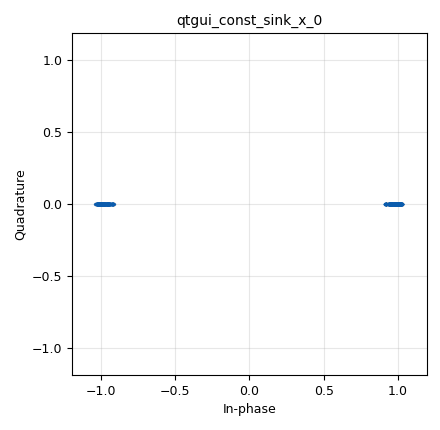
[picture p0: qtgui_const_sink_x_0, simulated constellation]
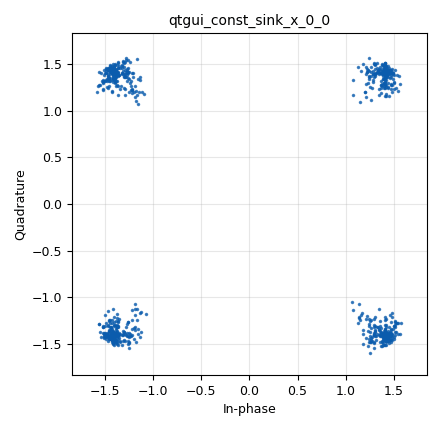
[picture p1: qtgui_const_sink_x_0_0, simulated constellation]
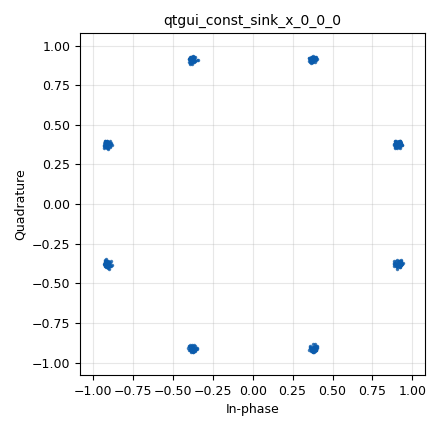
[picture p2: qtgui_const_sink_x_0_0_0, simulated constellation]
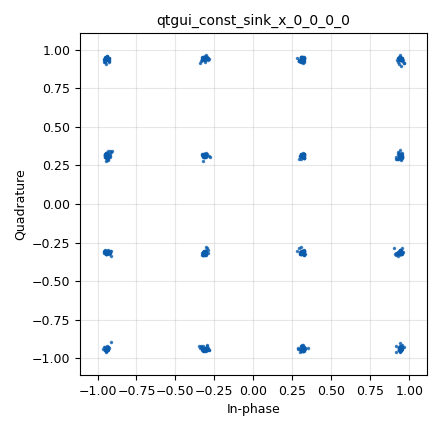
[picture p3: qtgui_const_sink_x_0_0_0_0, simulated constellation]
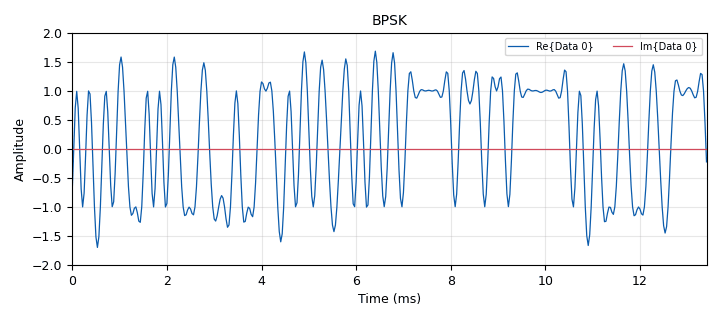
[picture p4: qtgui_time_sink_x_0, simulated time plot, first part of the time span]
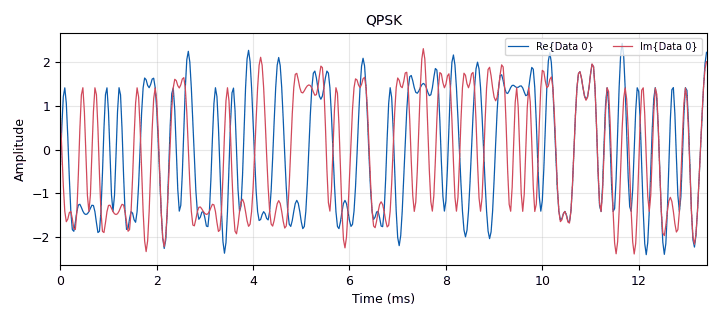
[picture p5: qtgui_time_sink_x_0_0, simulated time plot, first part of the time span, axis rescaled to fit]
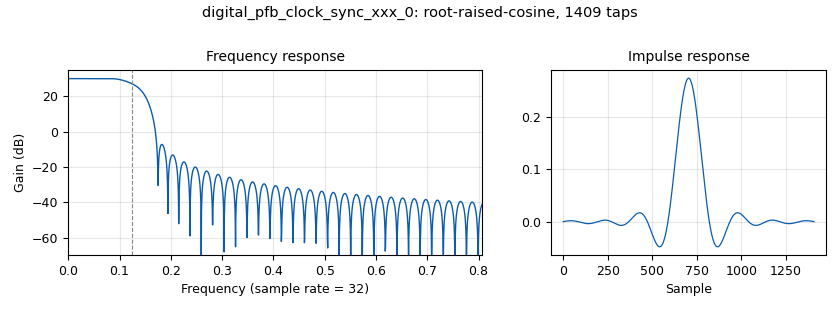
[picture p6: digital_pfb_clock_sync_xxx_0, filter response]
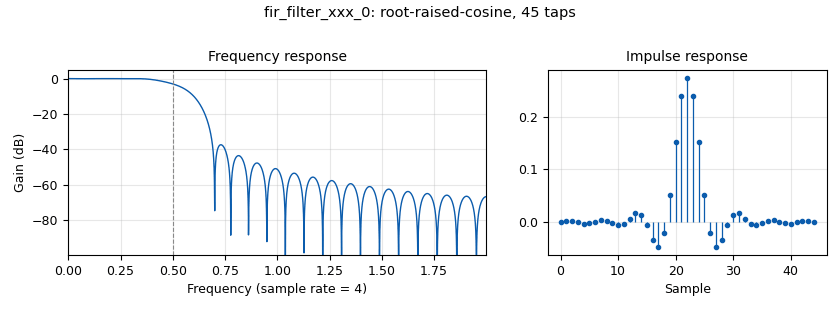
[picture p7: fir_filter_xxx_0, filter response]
options:
  parameters:
    category: Custom
    generate_options: qt_gui
    id: PSK
    output_language: python
    title: PSK
  states: {}

blocks:
- name: bpsk
  id: variable_constellation
  parameters:
    precision: '8'
    type: bpsk
  states: {}
- name: excess_bw
  id: variable
  parameters:
    value: '0.35'
  states: {}
- name: nfilts
  id: variable
  parameters:
    value: '32'
  states: {}
- name: psk8
  id: variable_constellation
  parameters:
    comment: |-
      55, 00, 01, 00, 55, 00, 11, 00, 55, 00, 51, 00-> 2520000100052400 （最终的八进制）

      55, 00, 01（十六进制）
      0101 0101 0000 0000 0000 0001  (二进制）
      010 101 010 000 000 000 000 001 （八进制）
    precision: '8'
    type: 8psk
  states: {}
- name: psk8_points
  id: variable
  parameters:
    value: psk8.points()
  states: {}
- name: psk8_points_25
  id: variable
  parameters:
    value: '[psk8_points[2],psk8_points[5]]'
  states: {}
- name: qam16
  id: variable_constellation
  parameters:
    precision: '8'
    type: 16qam
  states: {}
- name: qam16_points
  id: variable
  parameters:
    value: qam16.points()
  states: {}
- name: qam16_points_501
  id: variable
  parameters:
    value: '[qam16_points[5],qam16_points[0],qam16_points[1]]'
  states: {}
- name: qpsk
  id: variable_constellation
  parameters:
    precision: '8'
    type: qpsk
  states: {}
- name: rrc_taps
  id: variable
  parameters:
    value: firdes.root_raised_cosine(1, sps, 1, excess_bw, 45)
  states: {}
- name: rrc_taps_sync
  id: variable
  parameters:
    value: firdes.root_raised_cosine(nfilts, nfilts, 1.0/float(sps), excess_bw, 11*sps*nfilts)
  states: {}
- name: samp_rate
  id: variable
  parameters:
    value: '32000'
  states: {}
- name: sps
  id: variable
  parameters:
    value: '4'
  states: {}
- name: analog_random_source_x_0
  id: analog_random_source_x
  parameters:
    max: '256'
    min: '0'
    num_samps: '1024'
    repeat: 'True'
    type: byte
  states: {}
- name: blocks_throttle_0
  id: blocks_throttle
  parameters:
    samples_per_second: samp_rate
    type: complex
  states: {}
- name: blocks_throttle_0_0
  id: blocks_throttle
  parameters:
    samples_per_second: samp_rate
    type: complex
  states: {}
- name: blocks_throttle_0_0_0
  id: blocks_throttle
  parameters:
    samples_per_second: samp_rate
    type: complex
  states: {}
- name: blocks_throttle_0_0_0_0
  id: blocks_throttle
  parameters:
    samples_per_second: samp_rate
    type: complex
  states: {}
- name: blocks_vector_source_x_0
  id: blocks_vector_source_x
  parameters:
    comment: |-
      55, 00, 01, 00, 55, 00, 11, 00, 55, 00, 51, 00
      BPSK：寻找1个尖、2个尖、3个尖
    repeat: 'True'
    type: byte
    vector: (0x55,0,0x01,0,0x55,0,0x11,0,0x55,0,0x51,0)
  states: {state: disabled}
- name: digital_constellation_modulator_0
  id: digital_constellation_modulator
  parameters:
    constellation: bpsk
    differential: 'False'
    excess_bw: excess_bw
    samples_per_symbol: sps
  states: {}
- name: digital_constellation_modulator_0_0
  id: digital_constellation_modulator
  parameters:
    constellation: qpsk
    differential: 'False'
    excess_bw: excess_bw
    samples_per_symbol: sps
  states: {}
- name: digital_constellation_modulator_0_0_0
  id: digital_constellation_modulator
  parameters:
    constellation: psk8
    differential: 'False'
    excess_bw: excess_bw
    samples_per_symbol: sps
  states: {}
- name: digital_constellation_modulator_0_0_0_0
  id: digital_constellation_modulator
  parameters:
    constellation: qam16
    differential: 'False'
    excess_bw: excess_bw
    samples_per_symbol: sps
  states: {}
- name: digital_pfb_clock_sync_xxx_0
  id: digital_pfb_clock_sync_xxx
  parameters:
    filter_size: nfilts
    init_phase: nfilts/2
    loop_bw: 6.28/100.0
    max_dev: '1.5'
    osps: '1'
    sps: sps
    taps: rrc_taps_sync
    type: ccf
  states: {}
- name: digital_pfb_clock_sync_xxx_0_0
  id: digital_pfb_clock_sync_xxx
  parameters:
    filter_size: nfilts
    init_phase: nfilts/2
    loop_bw: 6.28/100.0
    max_dev: '1.5'
    osps: '1'
    sps: sps
    taps: rrc_taps_sync
    type: ccf
  states: {}
- name: digital_pfb_clock_sync_xxx_0_1
  id: digital_pfb_clock_sync_xxx
  parameters:
    filter_size: nfilts
    init_phase: nfilts/2
    loop_bw: 6.28/100.0
    max_dev: '1.5'
    osps: '1'
    sps: sps
    taps: rrc_taps_sync
    type: ccf
  states: {}
- name: digital_pfb_clock_sync_xxx_0_1_0
  id: digital_pfb_clock_sync_xxx
  parameters:
    filter_size: nfilts
    init_phase: nfilts/2
    loop_bw: 6.28/100.0
    max_dev: '1.5'
    osps: '1'
    sps: sps
    taps: rrc_taps_sync
    type: ccf
  states: {}
- name: fir_filter_xxx_0
  id: fir_filter_xxx
  parameters:
    decim: '1'
    taps: rrc_taps
    type: ccc
  states: {}
- name: fir_filter_xxx_0_0
  id: fir_filter_xxx
  parameters:
    decim: '1'
    taps: rrc_taps
    type: ccc
  states: {}
- name: fir_filter_xxx_0_0_0
  id: fir_filter_xxx
  parameters:
    decim: '1'
    taps: rrc_taps
    type: ccc
  states: {}
- name: fir_filter_xxx_0_0_0_0
  id: fir_filter_xxx
  parameters:
    decim: '1'
    taps: rrc_taps
    type: ccc
  states: {}
- name: note_0
  id: note
  parameters:
    comment: |-
      samp_rate = 32k
      sps = 4
      symbol_rate = 32k/4 = 8k -> one symbol 0.125ms

      - when BPSK, 1 bit one symbol, 1byte -> 1ms
      - when QPSK, 2 bits one symbol, 2bytes -> 1ms
      - when 16QAM, 4 bits one symbol, 4bytes -> 1ms
      - when 8PSK, 3 bits one symbol, 3bytes -> 1ms

      因此故意设计 4*3 bytes，这样既能整除 3，也能整出 4，看起来比较清晰
  states: {}
- name: qtgui_const_sink_x_0
  id: qtgui_const_sink_x
  parameters:
    autoscale: 'True'
    gui_hint: 0,2,1,1
    size: '1024'
    type: complex
  states: {}
- name: qtgui_const_sink_x_0_0
  id: qtgui_const_sink_x
  parameters:
    autoscale: 'True'
    gui_hint: 1,2,1,1
    size: '1024'
    type: complex
  states: {}
- name: qtgui_const_sink_x_0_0_0
  id: qtgui_const_sink_x
  parameters:
    autoscale: 'True'
    gui_hint: 2,2,1,1
    size: '1024'
    type: complex
  states: {}
- name: qtgui_const_sink_x_0_0_0_0
  id: qtgui_const_sink_x
  parameters:
    autoscale: 'True'
    gui_hint: 3,2,1,1
    size: '1024'
    type: complex
  states: {}
- name: qtgui_time_sink_x_0
  id: qtgui_time_sink_x
  parameters:
    alpha1: '0.5'
    alpha2: '0.5'
    grid: 'True'
    gui_hint: 0,0,1,2
    label1: ''
    label2: ''
    name: '"BPSK"'
    size: '1024'
    srate: samp_rate
    tr_mode: qtgui.TRIG_MODE_NORM
    type: complex
    ymax: '2'
    ymin: '-2'
  states: {}
- name: qtgui_time_sink_x_0_0
  id: qtgui_time_sink_x
  parameters:
    alpha1: '0.5'
    alpha2: '0.5'
    grid: 'True'
    gui_hint: 1,0,1,2
    label1: ''
    label2: ''
    name: '"QPSK"'
    size: '1024'
    srate: samp_rate
    tr_mode: qtgui.TRIG_MODE_NORM
    type: complex
    ymax: '2'
    ymin: '-2'
  states: {}
- name: qtgui_time_sink_x_0_0_0
  id: qtgui_time_sink_x
  parameters:
    alpha1: '0.5'
    alpha2: '0.5'
    grid: 'True'
    gui_hint: 2,0,1,2
    label1: ''
    label2: ''
    name: '"8PSK"'
    size: '1024'
    srate: samp_rate
    tr_mode: qtgui.TRIG_MODE_NORM
    type: complex
    ymax: '2'
    ymin: '-2'
  states: {}
- name: qtgui_time_sink_x_0_0_0_0
  id: qtgui_time_sink_x
  parameters:
    alpha1: '0.5'
    alpha2: '0.5'
    grid: 'True'
    gui_hint: 3,0,1,2
    label1: ''
    label2: ''
    name: '"QAM16"'
    size: '1024'
    srate: samp_rate
    tr_mode: qtgui.TRIG_MODE_NORM
    type: complex
    ymax: '2'
    ymin: '-2'
  states: {}

connections:
- [analog_random_source_x_0, '0', digital_constellation_modulator_0, '0']
- [analog_random_source_x_0, '0', digital_constellation_modulator_0_0, '0']
- [analog_random_source_x_0, '0', digital_constellation_modulator_0_0_0, '0']
- [analog_random_source_x_0, '0', digital_constellation_modulator_0_0_0_0, '0']
- [blocks_throttle_0, '0', digital_pfb_clock_sync_xxx_0_0, '0']
- [blocks_throttle_0, '0', fir_filter_xxx_0, '0']
- [blocks_throttle_0_0, '0', digital_pfb_clock_sync_xxx_0, '0']
- [blocks_throttle_0_0, '0', fir_filter_xxx_0_0, '0']
- [blocks_throttle_0_0_0, '0', digital_pfb_clock_sync_xxx_0_1, '0']
- [blocks_throttle_0_0_0, '0', fir_filter_xxx_0_0_0, '0']
- [blocks_throttle_0_0_0_0, '0', digital_pfb_clock_sync_xxx_0_1_0, '0']
- [blocks_throttle_0_0_0_0, '0', fir_filter_xxx_0_0_0_0, '0']
- [blocks_vector_source_x_0, '0', digital_constellation_modulator_0, '0']
- [blocks_vector_source_x_0, '0', digital_constellation_modulator_0_0, '0']
- [blocks_vector_source_x_0, '0', digital_constellation_modulator_0_0_0, '0']
- [blocks_vector_source_x_0, '0', digital_constellation_modulator_0_0_0_0, '0']
- [digital_constellation_modulator_0, '0', blocks_throttle_0, '0']
- [digital_constellation_modulator_0_0, '0', blocks_throttle_0_0, '0']
- [digital_constellation_modulator_0_0_0, '0', blocks_throttle_0_0_0, '0']
- [digital_constellation_modulator_0_0_0_0, '0', blocks_throttle_0_0_0_0, '0']
- [digital_pfb_clock_sync_xxx_0, '0', qtgui_const_sink_x_0_0, '0']
- [digital_pfb_clock_sync_xxx_0_0, '0', qtgui_const_sink_x_0, '0']
- [digital_pfb_clock_sync_xxx_0_1, '0', qtgui_const_sink_x_0_0_0, '0']
- [digital_pfb_clock_sync_xxx_0_1_0, '0', qtgui_const_sink_x_0_0_0_0, '0']
- [fir_filter_xxx_0, '0', qtgui_time_sink_x_0, '0']
- [fir_filter_xxx_0_0, '0', qtgui_time_sink_x_0_0, '0']
- [fir_filter_xxx_0_0_0, '0', qtgui_time_sink_x_0_0_0, '0']
- [fir_filter_xxx_0_0_0_0, '0', qtgui_time_sink_x_0_0_0_0, '0']

metadata:
  file_format: 1
  grc_version: 3.10.11.0
